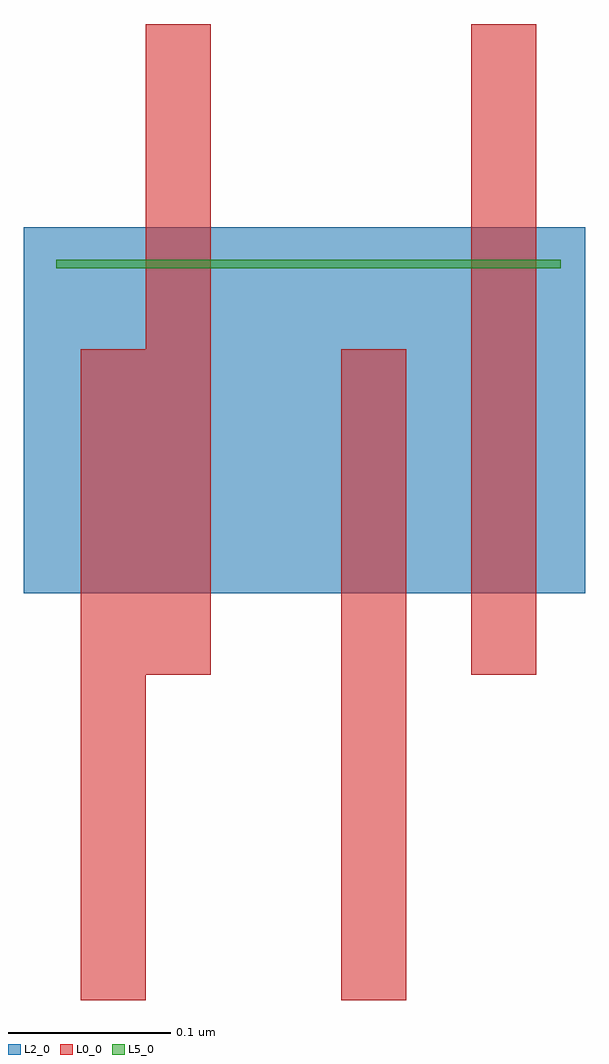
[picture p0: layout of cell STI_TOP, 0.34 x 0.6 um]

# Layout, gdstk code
import gdstk
lib = gdstk.Library(unit=1e-6, precision=1e-09)
def R(c, l, rs):  # rectangles x0, y0, x1, y1
    for r in rs: c.add(gdstk.rectangle(r[:2], r[2:], *l))
L0_0 = (0, 0)
L2_0 = (2, 0)
L5_0 = (5, 0)

fin40 = lib.new_cell('FIN40')
R(fin40, L0_0, [(0,0,0.04,0.4)])

sti_top = lib.new_cell('STI_TOP')
R(sti_top, L2_0, [(-0.075,0.05,0.27,0.275)])
R(sti_top, L5_0, [(-0.055,0.25,0.255,0.255)])
sti_top.add(gdstk.Reference(fin40, (0.12,-0.2)))
sti_top.add(gdstk.Reference(fin40, (-0.04,-0.2)))
sti_top.add(gdstk.Reference(fin40, (0.2,0)))
sti_top.add(gdstk.Reference(fin40, (0,0)))

lib.write_gds('STI_TOP.gds')
